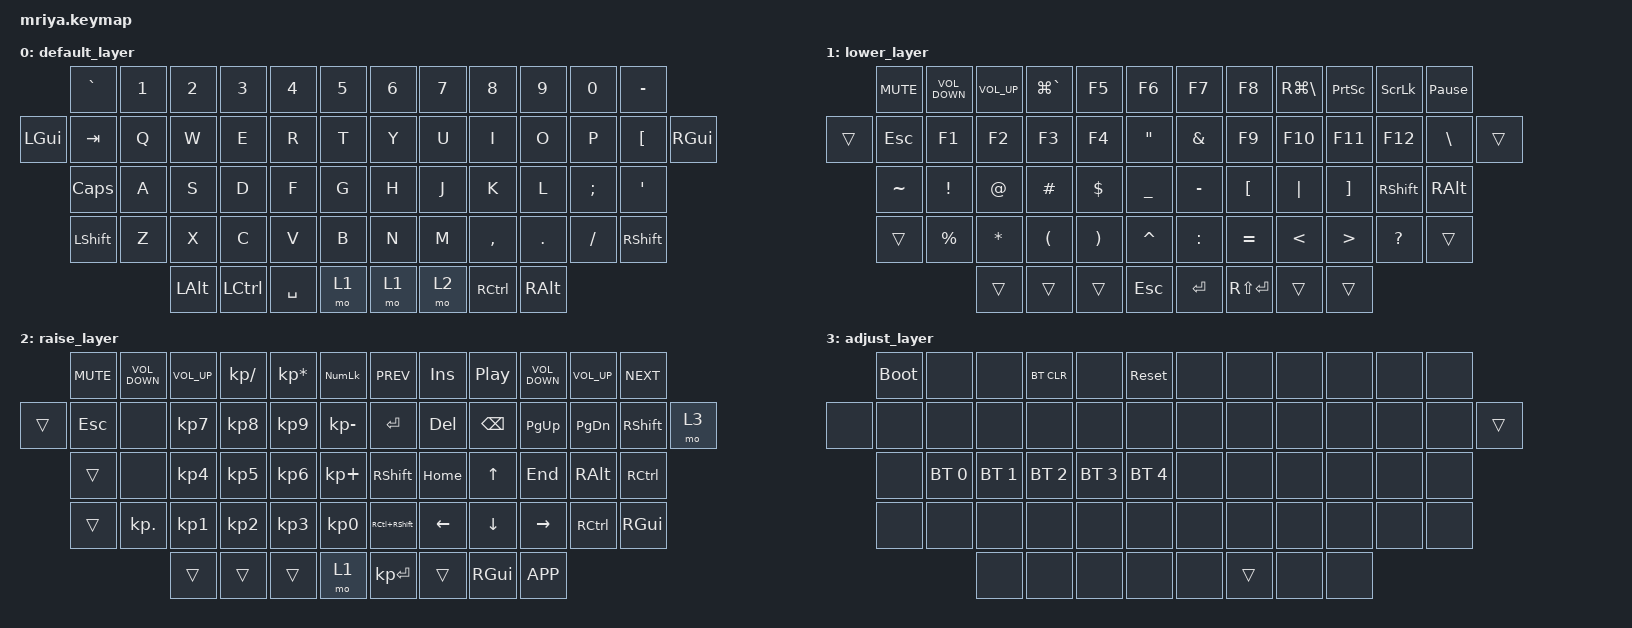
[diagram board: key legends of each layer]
/*
 * Copyright (c) 2023 Andrei Gaevskii
 *
 * SPDX-License-Identifier: MIT
 */

#include <behaviors.dtsi>
#include <dt-bindings/zmk/bt.h>
#include <dt-bindings/zmk/keys.h>

#define DEF 0
#define LWR 1
#define RSE 2
#define ADJ 3

&lt { quick_tap_ms = <150>; };

&mt { quick_tap_ms = <150>; };

/ {
    keymap {
        compatible = "zmk,keymap";

        default_layer {
            bindings = <
          &kp GRAVE     &kp N1  &kp N2    &kp N3     &kp N4     &kp N5    &kp N6  &kp N7  &kp N8     &kp N9    &kp N0    &kp MINUS
&kp LGUI  &kp TAB       &kp Q   &kp W     &kp E      &kp R      &kp T     &kp Y   &kp U   &kp I      &kp O     &kp P     &kp LEFT_BRACKET  &kp RGUI
          &kp CAPSLOCK  &kp A   &kp S     &kp D      &kp F      &kp G     &kp H   &kp J   &kp K      &kp L     &kp SEMI  &kp SQT
          &kp LSHIFT    &kp Z   &kp X     &kp C      &kp V      &kp B     &kp N   &kp M   &kp COMMA  &kp DOT   &kp FSLH  &kp RSHIFT
                                &kp LALT  &kp LCTRL  &kp SPACE  &mo 1     &mo 1   &mo 2   &kp RCTRL  &kp RALT
            >;
        };

        lower_layer {
            bindings = <
        &kp C_MUTE  &kp C_VOLUME_DOWN  &kp C_VOLUME_UP  &kp LG(GRAVE)  &kp F5    &kp F6            &kp F7     &kp F8         &kp RG(BACKSLASH)  &kp PRINTSCREEN  &kp SCROLLLOCK  &kp PAUSE_BREAK
&trans  &kp ESCAPE  &kp F1             &kp F2           &kp F3         &kp F4    &kp DQT           &kp AMPS   &kp F9         &kp F10            &kp F11          &kp F12         &kp BSLH         &trans
        &kp TILDE   &kp EXCL           &kp AT           &kp HASH       &kp DLLR  &kp UNDERSCORE    &kp MINUS  &kp LBKT       &kp PIPE           &kp RBKT         &kp RSHIFT      &kp RIGHT_ALT
        &trans      &kp PERCENT        &kp ASTERISK     &kp LPAR       &kp RPAR  &kp CARET         &kp COLON  &kp EQUAL      &kp LT             &kp GT           &kp QMARK       &trans
                                       &trans           &trans         &trans    &kp ESCAPE        &kp ENTER  &kp RS(ENTER)  &trans             &trans
            >;
        };

        raise_layer {
            bindings = <
        &kp C_MUTE  &kp C_VOLUME_DOWN  &kp C_VOLUME_UP  &kp KP_DIVIDE  &kp KP_ASTERISK  &kp KP_NUM      &kp C_PREV      &kp INSERT  &kp C_PP       &kp C_VOLUME_DOWN  &kp C_VOLUME_UP  &kp C_NEXT
&trans  &kp ESCAPE  &none              &kp KP_N7        &kp KP_N8      &kp KP_N9        &kp KP_MINUS    &kp ENTER       &kp DELETE  &kp BACKSPACE  &kp PAGE_UP        &kp PAGE_DOWN    &kp RSHIFT  &mo 3
        &trans      &none              &kp KP_N4        &kp KP_N5      &kp KP_N6        &kp KP_PLUS     &kp RSHIFT      &kp HOME    &kp UP         &kp END            &kp RALT         &kp RCTRL
        &trans      &kp KP_DOT         &kp KP_N1        &kp KP_N2      &kp KP_N3        &kp KP_N0       &kp RC(RSHIFT)  &kp LEFT    &kp DOWN       &kp RIGHT          &kp RCTRL        &kp RGUI
                                       &trans           &trans         &trans           &mo 1           &kp KP_ENTER    &trans      &kp RGUI       &kp K_APP
            >;
        };

        adjust_layer {
            bindings = <
       &bootloader  &none         &none         &bt BT_CLR    &none         &sys_reset      &none  &none   &none  &none  &none  &none
&none  &none        &none         &none         &none         &none         &none           &none  &none   &none  &none  &none  &none  &trans
       &none        &bt BT_SEL 0  &bt BT_SEL 1  &bt BT_SEL 2  &bt BT_SEL 3  &bt BT_SEL 4    &none  &none   &none  &none  &none  &none
       &none        &none         &none         &none         &none         &none           &none  &none   &none  &none  &none  &none
                                  &none         &none         &none         &none           &none  &trans  &none  &none
            >;
        };
    };
};
